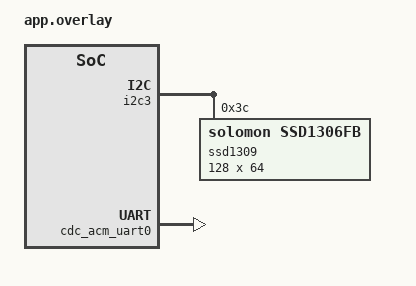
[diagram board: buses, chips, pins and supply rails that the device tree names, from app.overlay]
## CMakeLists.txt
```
# SPDX-License-Identifier: Apache-2.0

cmake_minimum_required(VERSION 3.20.0)

find_package(Zephyr REQUIRED HINTS $ENV{ZEPHYR_BASE})
project(ejection_controller)

target_sources(app PRIVATE
    src/main.c
    src/ejection_io.c
    src/ejection_shell.c
    src/phase3_devices.c
    src/ejection_settings.c
    src/controller_state.c
    src/can_protocol.c
    src/scheduler_core.c
    src/ejection_scheduler.c
    src/manual_control.c
)
```

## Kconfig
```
mainmenu "12CH Ejection Controller"

config EJECTION_SHELL_DIAGNOSTICS
	bool "Enable development diagnostic shell commands"
	default y
	help
	  Enables raw CAN, OLED and device bring-up commands under
	  the ejection diag namespace. Disable for production builds.

config EJECTION_SHELL_MANUAL_OUTPUT
	bool "Enable manual output diagnostic commands"
	default y
	depends on EJECTION_SHELL_DIAGNOSTICS
	help
	  Enables manual set and pulse commands. The handlers allow them only
	  in IDLE while no scheduler event owns the outputs.

config EJECTION_SHELL_FAULT_INJECTION
	bool "Enable controller fault injection command"
	default y
	depends on EJECTION_SHELL_DIAGNOSTICS
	help
	  Enables deliberate emergency-stop fault injection for development.

source "Kconfig.zephyr"
```

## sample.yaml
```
sample:
  name: 12-channel ejection controller bring-up
tests:
  app.ejection_controller:
    platform_allow: agmo_ejection
    tags:
      - can
      - eeprom
      - gpio
      - usb
```

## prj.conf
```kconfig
CONFIG_GPIO=y
CONFIG_I2C=y
CONFIG_EEPROM=y
CONFIG_CRC=y

CONFIG_DAJILOG_COMPONENT_ADS1232=n
CONFIG_DAJILOG_COMPONENT_OLED_DISPLAY=y
CONFIG_DAJILOG_OLED_SCAN_I2C_ON_INIT=y
CONFIG_DAJILOG_OLED_SCAN_PERIOD_MS=0
CONFIG_DAJILOG_COMPONENT_RS485_MODBUS=n
CONFIG_DAJILOG_COMPONENT_CAN_BUS=n
CONFIG_DAJILOG_COMPONENT_SBUS=n
CONFIG_DAJILOG_COMPONENT_SDI12_SLAVE=n
CONFIG_DAJILOG_COMPONENT_EEPROM_STORE=y
CONFIG_DAJILOG_EEPROM_BRINGUP_TEST=n
CONFIG_DAJILOG_COMPONENT_DEVICE_PROFILE=n
CONFIG_DAJILOG_COMPONENT_DEVICE_INFO=n
CONFIG_DAJILOG_COMPONENT_DEVICE_PROVISIONING=n

CONFIG_CAN=y
CONFIG_CAN_FD_MODE=n
CONFIG_CAN_DEFAULT_BITRATE=250000

CONFIG_DISPLAY=y
CONFIG_SSD1306=y
CONFIG_CHARACTER_FRAMEBUFFER=y
CONFIG_CHARACTER_FRAMEBUFFER_USE_DEFAULT_FONTS=y

CONFIG_SERIAL=y
CONFIG_CONSOLE=y
CONFIG_UART_CONSOLE=y
CONFIG_UART_LINE_CTRL=y

CONFIG_USB_DEVICE_STACK=y
CONFIG_USB_CDC_ACM=y
CONFIG_USB_DEVICE_INITIALIZE_AT_BOOT=n
# Zephyr test VID for bring-up only; replace before a production release.
CONFIG_USB_DEVICE_VID=0x2FE3
CONFIG_USB_DEVICE_PRODUCT="12ch-ejection-controller"
CONFIG_USB_DEVICE_PID=0x0005

CONFIG_PRINTK=y
CONFIG_BOOT_BANNER=n
CONFIG_MAIN_STACK_SIZE=2048
CONFIG_HEAP_MEM_POOL_SIZE=2048

CONFIG_SHELL=y
CONFIG_SHELL_BACKEND_SERIAL=y
CONFIG_SHELL_PROMPT_UART="ejection> "
CONFIG_SHELL_STACK_SIZE=1536
CONFIG_SHELL_CMD_BUFF_SIZE=96
CONFIG_SHELL_ARGC_MAX=10
CONFIG_THREAD_NAME=y

# Development shell. Disable these three options for a production image.
CONFIG_EJECTION_SHELL_DIAGNOSTICS=y
CONFIG_EJECTION_SHELL_MANUAL_OUTPUT=y
CONFIG_EJECTION_SHELL_FAULT_INJECTION=y
```

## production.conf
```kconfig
# Production shell excludes commands that can directly manipulate hardware,
# send arbitrary CAN frames, overwrite the OLED, or inject faults.
CONFIG_EJECTION_SHELL_DIAGNOSTICS=n
CONFIG_EJECTION_SHELL_MANUAL_OUTPUT=n
CONFIG_EJECTION_SHELL_FAULT_INJECTION=n
```

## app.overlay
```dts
/ {
	chosen {
		zephyr,console = &cdc_acm_uart0;
		zephyr,shell-uart = &cdc_acm_uart0;
		zephyr,display = &ssd1309;
	};
};

&i2c3 {
	ssd1309: ssd1309@3c {
		compatible = "solomon,ssd1306fb";
		reg = <0x3c>;
		width = <128>;
		height = <64>;
		segment-offset = <0>;
		page-offset = <0>;
		display-offset = <0>;
		multiplex-ratio = <63>;
		segment-remap;
		com-invdir;
		prechargep = <0x22>;

		ready-time-ms = <200>;
	};
};

&zephyr_udc0 {
	cdc_acm_uart0: cdc_acm_uart0 {
		compatible = "zephyr,cdc-acm-uart";
	};
};
```

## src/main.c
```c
/* SPDX-License-Identifier: Apache-2.0 */

#include <zephyr/device.h>
#include <zephyr/devicetree.h>
#include <zephyr/drivers/can.h>
#include <zephyr/drivers/eeprom.h>
#include <zephyr/drivers/uart.h>
#include <zephyr/kernel.h>
#include <zephyr/sys/printk.h>
#include <zephyr/usb/usb_device.h>

#include "can_protocol.h"
#include "controller_state.h"
#include "ejection_io.h"
#include "ejection_scheduler.h"
#include "ejection_settings.h"
#include "manual_control.h"
#include "phase3_devices.h"

#define USB_DTR_WAIT_MS 3000

static const struct device *const console_dev =
    DEVICE_DT_GET(DT_CHOSEN(zephyr_console));
static const struct device *const can_dev =
    DEVICE_DT_GET(DT_CHOSEN(zephyr_canbus));
static const struct device *const eeprom_dev =
    DEVICE_DT_GET(DT_NODELABEL(eeprom0));

static void start_usb_console(void) {
  uint32_t dtr = 0;
  int ret = usb_enable(NULL);

  if (ret != 0 && ret != -EALREADY) {
    return;
  }

  for (int elapsed = 0; elapsed < USB_DTR_WAIT_MS; elapsed += 100) {
    (void)uart_line_ctrl_get(console_dev, UART_LINE_CTRL_DTR, &dtr);
    if (dtr != 0U) {
      break;
    }
    k_sleep(K_MSEC(100));
  }
}

int main(void) {
  controller_state_init();
  int ret = ejection_io_init();

  start_usb_console();
  int settings_ret = ejection_settings_init();
  ejection_scheduler_init();
  int phase3_ret = phase3_devices_init();
  struct phase3_status phase3_status;
  phase3_status_get(&phase3_status);
  struct controller_prerequisites prerequisites = {
      .io_ready = ret == 0,
      .settings_ready = settings_ret == 0,
      .can_ready = phase3_status.can_ready,
      .encoder_ready = phase3_status.encoder_ready,
      .oled_ready = phase3_status.oled_ready,
  };
  controller_state_set_prerequisites(&prerequisites);
  (void)controller_state_transition(CONTROLLER_STATE_SELF_TEST);
  if (ret != 0) {
    (void)controller_state_enter_fault(CONTROLLER_FAULT_IO_INIT);
  } else if (settings_ret != 0) {
    (void)controller_state_enter_fault(CONTROLLER_FAULT_EEPROM_INIT);
  } else if (!phase3_status.can_ready) {
    (void)controller_state_enter_fault(CONTROLLER_FAULT_CAN_INIT);
  } else if (!phase3_status.encoder_ready) {
    (void)controller_state_enter_fault(CONTROLLER_FAULT_IO_INIT);
  } else {
    (void)controller_state_transition(CONTROLLER_STATE_IDLE);
  }
  int protocol_ret = phase3_status.can_ready ? can_protocol_init() : -ENODEV;
  if (protocol_ret != 0) {
    prerequisites.can_ready = false;
    controller_state_set_prerequisites(&prerequisites);
    (void)controller_state_enter_fault(CONTROLLER_FAULT_CAN_INIT);
  }
  int manual_ret = ret == 0 ? manual_control_init() : -ENODEV;
  phase3_ui_refresh();
  struct controller_state_snapshot controller;
  controller_state_get(&controller);
  printk("12ch-ejection-controller bring-up\r\n");
  printk("GPIO: %s, CAN: %s, EEPROM: %s\r\n", ret == 0 ? "ready" : "error",
         device_is_ready(can_dev) ? "ready" : "error",
         device_is_ready(eeprom_dev) ? "ready" : "error");
  printk("Phase 3 (CAN/OLED/encoder): %s (%d)\r\n",
         phase3_ret == 0 ? "ready" : "partial/error", phase3_ret);
  printk("EEPROM settings: %s (%d)\r\n", settings_ret == 0 ? "ready" : "error",
         settings_ret);
  printk("Controller: %s, fault: %s\r\n",
         controller_state_name(controller.state),
         controller_fault_name(controller.fault));
  printk("CAN protocol: %s (%d)\r\n", protocol_ret == 0 ? "ready" : "error",
         protocol_ret);
  printk("Manual control: %s (%d)\r\n", manual_ret == 0 ? "ready" : "error",
         manual_ret);
  printk("Type 'ejection' to list product commands.\r\n");
  printk("Use 'ejection status', 'ejection config show', and 'ejection queue "
         "status'.\r\n");
  printk("Development hardware tests are under 'ejection diag'.\r\n");

  return 0;
}
```

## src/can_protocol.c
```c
/* SPDX-License-Identifier: Apache-2.0 */

#include "can_protocol.h"

#include "controller_state.h"
#include "ejection_io.h"
#include "ejection_timing.h"
#include "manual_control.h"
#include "phase3_devices.h"
#include "ejection_scheduler.h"

#include <errno.h>
#include <string.h>
#include <zephyr/device.h>
#include <zephyr/devicetree.h>
#include <zephyr/drivers/can.h>
#include <zephyr/kernel.h>
#include <zephyr/sys/atomic.h>

#define PROTOCOL_THREAD_STACK_SIZE 1280
#define PROTOCOL_THREAD_PRIORITY 5
#define PROTOCOL_RX_QUEUE_DEPTH 64

static const struct device *const can_dev =
	DEVICE_DT_GET(DT_CHOSEN(zephyr_canbus));

struct protocol_rx {
	struct can_frame frame;
	int64_t rx_at;
	uint32_t epoch;
};
K_MSGQ_DEFINE(protocol_rx_queue, sizeof(struct protocol_rx),
	      PROTOCOL_RX_QUEUE_DEPTH, 4);
/* IDLE and ALL OFF never compete with the bounded data queue or each other. */
K_MSGQ_DEFINE(protocol_stop_queue, sizeof(struct protocol_rx), 1, 4);
K_MSGQ_DEFINE(protocol_cancel_queue, sizeof(struct protocol_rx), 1, 4);
K_SEM_DEFINE(protocol_rx_wake, 0, 1);
K_THREAD_STACK_DEFINE(protocol_thread_stack, PROTOCOL_THREAD_STACK_SIZE);
static struct k_thread protocol_thread_data;
static struct k_work_delayable status_work;
static struct k_work_delayable heartbeat_timeout_work;
static struct can_protocol_status protocol_status;
static uint8_t status_sequence;
static int protocol_filter_id = -1;
K_MUTEX_DEFINE(protocol_mutex);

static atomic_t rx_count;
static atomic_t command_count;
static atomic_t heartbeat_count;
static atomic_t echo_count;
static atomic_t status_count;
static atomic_t reject_count;
static atomic_t duplicate_count;
static atomic_t dropped_count;
static atomic_t tx_error_count;

static bool frame_is_standard_data(const struct can_frame *frame)
{
	return (frame->flags & (CAN_FRAME_IDE | CAN_FRAME_RTR)) == 0U;
}

static bool control_frame_valid(const struct can_frame *frame)
{
	if (!frame_is_standard_data(frame) ||
	    can_dlc_to_bytes(frame->dlc) != 8U ||
	    frame->data[0] != CAN_PROTOCOL_VERSION ||
	    frame->data[1] > CAN_PROTOCOL_CONTROL_RUN) {
		return false;
	}
	for (size_t i = 3; i < 8; i++) {
		if (frame->data[i] != 0U) {
			return false;
		}
	}
	return true;
}

static uint8_t state_wire_value(enum controller_state state)
{
	switch (state) {
	case CONTROLLER_STATE_BOOT: return 0U;
	case CONTROLLER_STATE_SELF_TEST: return 1U;
	case CONTROLLER_STATE_IDLE: return 2U;
	case CONTROLLER_STATE_READY: return 3U;
	case CONTROLLER_STATE_RUNNING: return 4U;
	case CONTROLLER_STATE_FAULT: return 5U;
	default: return 0xffU;
	}
}

static uint8_t fault_wire_value(enum controller_fault fault)
{
	switch (fault) {
	case CONTROLLER_FAULT_NONE: return 0U;
	case CONTROLLER_FAULT_IO_INIT: return 1U;
	case CONTROLLER_FAULT_CAN_INIT: return 2U;
	case CONTROLLER_FAULT_OLED_INIT: return 3U;
	case CONTROLLER_FAULT_EEPROM_INIT: return 4U;
	case CONTROLLER_FAULT_INVALID_CONFIG: return 5U;
	case CONTROLLER_FAULT_CAN_TIMEOUT: return 6U;
	case CONTROLLER_FAULT_CAN_BUS_OFF: return 7U;
	case CONTROLLER_FAULT_EMERGENCY_STOP: return 8U;
	default: return 0xffU;
	}
}

static uint16_t input_mask_get(void)
{
	uint16_t mask = 0U;

	for (size_t i = 0; i < EJECTION_INPUT_COUNT; i++) {
		if (ejection_input_get(i)) {
			mask |= BIT(i);
		}
	}
	return mask;
}

static void protocol_rx_callback(const struct device *dev,
				 struct can_frame *frame, void *user_data)
{
	ARG_UNUSED(dev);
	ARG_UNUSED(user_data);
	struct protocol_rx rx = {
		.frame = *frame,
		.rx_at = k_uptime_get(),
		.epoch = ejection_scheduler_epoch(),
	};
	phase3_can_observe_rx(frame);
	atomic_inc(&rx_count);
	bool output_cancel = frame->id == CAN_PROTOCOL_OUTPUT_ID &&
			     frame->flags == 0U && frame->dlc == 8U;
	for (size_t i = 0; output_cancel && i < 8; i++) {
		output_cancel = frame->data[i] == 0;
	}
	bool stop = frame->id == CAN_PROTOCOL_CONTROL_ID &&
		    control_frame_valid(frame) &&
		    frame->data[1] == CAN_PROTOCOL_CONTROL_IDLE;
	if (stop) {
		ejection_scheduler_invalidate();
		struct protocol_rx discarded;
		(void)k_msgq_get(&protocol_stop_queue, &discarded, K_NO_WAIT);
		(void)k_msgq_put(&protocol_stop_queue, &rx, K_NO_WAIT);
	} else if (output_cancel) {
		/* Invalidate pending registrations immediately, even while Echo TX waits. */
		ejection_scheduler_invalidate();
		struct protocol_rx discarded;
		(void)k_msgq_get(&protocol_cancel_queue, &discarded, K_NO_WAIT);
		(void)k_msgq_put(&protocol_cancel_queue, &rx, K_NO_WAIT);
	} else if (k_msgq_put(&protocol_rx_queue, &rx, K_NO_WAIT) != 0) {
		atomic_inc(&dropped_count);
	}
	k_sem_give(&protocol_rx_wake);
}

static void start_status_publishing(void)
{
	k_mutex_lock(&protocol_mutex, K_FOREVER);
	protocol_status.status_publishing = true;
	k_mutex_unlock(&protocol_mutex);
	(void)k_work_reschedule(&status_work, K_NO_WAIT);
}

static void status_change_callback(void *user_data)
{
	ARG_UNUSED(user_data);
	bool active;

	k_mutex_lock(&protocol_mutex, K_FOREVER);
	active = protocol_status.status_publishing;
	k_mutex_unlock(&protocol_mutex);
	if (active) {
		(void)k_work_reschedule(&status_work, K_NO_WAIT);
	}
}

static void handle_heartbeat(const struct can_frame *frame)
{
	if (!frame_is_standard_data(frame) || can_dlc_to_bytes(frame->dlc) != 2U ||
	    frame->data[0] != CAN_PROTOCOL_VERSION) {
		atomic_inc(&reject_count);
		return;
	}

	k_mutex_lock(&protocol_mutex, K_FOREVER);
	if (protocol_status.link_active &&
	    protocol_status.last_heartbeat_sequence == frame->data[1]) {
		atomic_inc(&duplicate_count);
	}
	protocol_status.link_active = true;
	protocol_status.last_heartbeat_sequence = frame->data[1];
	protocol_status.last_heartbeat_ms = k_uptime_get();
	k_mutex_unlock(&protocol_mutex);
	atomic_inc(&heartbeat_count);
	controller_state_set_run_permission(true);
	(void)k_work_reschedule(&heartbeat_timeout_work,
				K_MSEC(CAN_PROTOCOL_HEARTBEAT_TIMEOUT_MS));
	start_status_publishing();
}

static bool output_frame_valid(const struct can_frame *frame, uint16_t *mask,
                               uint16_t *move_ms, uint16_t *hold_ms)
{
	if (!frame_is_standard_data(frame) || can_dlc_to_bytes(frame->dlc) != 8U) {
		return false;
	}
	for (size_t i = 6; i < 8; i++) {
		if (frame->data[i] != 0U) {
			return false;
		}
	}
	if ((frame->data[1] & 0xf0U) != 0U) {
		return false;
	}
	*mask = (uint16_t)frame->data[0] | ((uint16_t)frame->data[1] << 8);
	*move_ms = (uint16_t)frame->data[2] | ((uint16_t)frame->data[3] << 8);
	*hold_ms = (uint16_t)frame->data[4] | ((uint16_t)frame->data[5] << 8);
	if (*move_ms > EJECTION_MOVE_MAX_MS || *hold_ms > EJECTION_HOLD_MAX_MS) {
		return false;
	}
	return true;
}

static void handle_output_command(const struct protocol_rx *rx)
{
	const struct can_frame *frame = &rx->frame;
	uint16_t mask;
	uint16_t move_ms;
	uint16_t hold_ms;

	if (!output_frame_valid(frame, &mask, &move_ms, &hold_ms) ||
	    manual_control_is_active()) {
		atomic_inc(&reject_count);
		return;
	}

	int ret = mask == 0U ? ejection_scheduler_cancel_all() :
		ejection_scheduler_submit_timed(mask, rx->rx_at, rx->epoch,
					       move_ms, hold_ms);
	if (ret != 0) {
		atomic_inc(&reject_count);
		return;
	}

	atomic_inc(&command_count);
	start_status_publishing();

	ret = phase3_can_send(CAN_PROTOCOL_OUTPUT_ID, frame->data, 8U);
	if (ret == 0) {
		atomic_inc(&echo_count);
	} else {
		atomic_inc(&tx_error_count);
	}
	(void)k_work_reschedule(&status_work, K_NO_WAIT);
}

static int apply_control_command(uint8_t command)
{
	struct controller_state_snapshot state;
	controller_state_get(&state);

	if (command == CAN_PROTOCOL_CONTROL_IDLE) {
		if (state.state == CONTROLLER_STATE_READY ||
		    state.state == CONTROLLER_STATE_RUNNING) {
			return controller_state_transition(CONTROLLER_STATE_IDLE);
		}
		if (state.state == CONTROLLER_STATE_IDLE ||
		    state.state == CONTROLLER_STATE_FAULT) {
			return ejection_scheduler_cancel_all();
		}
		return -EAGAIN;
	}

	if (manual_control_is_active() || state.state == CONTROLLER_STATE_FAULT) {
		return -EACCES;
	}
	if (state.state == CONTROLLER_STATE_RUNNING) {
		return 0;
	}
	if (state.state == CONTROLLER_STATE_READY) {
		return controller_state_transition(CONTROLLER_STATE_RUNNING);
	}
	if (state.state != CONTROLLER_STATE_IDLE) {
		return -EAGAIN;
	}

	int ret = controller_state_transition(CONTROLLER_STATE_READY);
	if (ret == 0) {
		ret = controller_state_transition(CONTROLLER_STATE_RUNNING);
	}
	if (ret != 0) {
		struct controller_state_snapshot current;
		controller_state_get(&current);
		if (current.state == CONTROLLER_STATE_READY) {
			(void)controller_state_transition(CONTROLLER_STATE_IDLE);
		}
	}
	return ret;
}

static void handle_control_command(const struct can_frame *frame)
{
	if (!control_frame_valid(frame)) {
		atomic_inc(&reject_count);
		return;
	}

	int ret = apply_control_command(frame->data[1]);
	if (ret != 0) {
		atomic_inc(&reject_count);
		(void)k_work_reschedule(&status_work, K_NO_WAIT);
		return;
	}

	atomic_inc(&command_count);
	start_status_publishing();
	ret = phase3_can_send(CAN_PROTOCOL_CONTROL_ID, frame->data, 8U);
	if (ret == 0) {
		atomic_inc(&echo_count);
	} else {
		atomic_inc(&tx_error_count);
	}
	(void)k_work_reschedule(&status_work, K_NO_WAIT);
}

static void protocol_thread(void *arg1, void *arg2, void *arg3)
{
	ARG_UNUSED(arg1);
	ARG_UNUSED(arg2);
	ARG_UNUSED(arg3);
	struct protocol_rx rx;

	while (true) {
		if (k_msgq_get(&protocol_stop_queue, &rx, K_NO_WAIT) != 0 &&
		    k_msgq_get(&protocol_cancel_queue, &rx, K_NO_WAIT) != 0 &&
		    k_msgq_get(&protocol_rx_queue, &rx, K_NO_WAIT) != 0) {
			(void)k_sem_take(&protocol_rx_wake, K_FOREVER);
			continue;
		}
		if (rx.frame.id == CAN_PROTOCOL_CONTROL_ID) {
			handle_control_command(&rx.frame);
		} else if (rx.frame.id == CAN_PROTOCOL_OUTPUT_ID) {
			handle_output_command(&rx);
		} else if (rx.frame.id == CAN_PROTOCOL_HEARTBEAT_ID) {
			handle_heartbeat(&rx.frame);
		}
	}
}

int can_protocol_send_status(void)
{
	struct controller_state_snapshot controller;
	controller_state_get(&controller);
	uint16_t inputs = input_mask_get();
	uint16_t outputs = ejection_output_mask_get();
	uint8_t data[8] = {
		CAN_PROTOCOL_VERSION,
		status_sequence++,
		state_wire_value(controller.state),
		fault_wire_value(controller.fault),
		(uint8_t)inputs,
		(uint8_t)(inputs >> 8),
		(uint8_t)outputs,
		(uint8_t)(outputs >> 8),
	};

	if (controller.prerequisites.settings_ready) {
		data[7] |= BIT(4);
	}
	if (controller.prerequisites.can_ready) {
		data[7] |= BIT(5);
	}
	if (controller.prerequisites.encoder_ready) {
		data[7] |= BIT(6);
	}
	if (controller.prerequisites.oled_ready) {
		data[7] |= BIT(7);
	}

	int ret = phase3_can_send(CAN_PROTOCOL_STATUS_ID, data, sizeof(data));
	if (ret == 0) {
		atomic_inc(&status_count);
	} else {
		atomic_inc(&tx_error_count);
		enum can_state can_state;
		struct can_bus_err_cnt err_count;
		if (can_get_state(can_dev, &can_state, &err_count) == 0 &&
		    can_state == CAN_STATE_BUS_OFF) {
			k_mutex_lock(&protocol_mutex, K_FOREVER);
			protocol_status.status_publishing = false;
			k_mutex_unlock(&protocol_mutex);
			controller_state_set_run_permission(false);
			(void)controller_state_enter_fault(CONTROLLER_FAULT_CAN_BUS_OFF);
		}
	}
	return ret;
}

static void status_work_handler(struct k_work *work)
{
	ARG_UNUSED(work);
	bool active;

	k_mutex_lock(&protocol_mutex, K_FOREVER);
	active = protocol_status.status_publishing;
	k_mutex_unlock(&protocol_mutex);
	if (!active) {
		return;
	}

	(void)can_protocol_send_status();
	(void)k_work_reschedule(&status_work,
				K_MSEC(CAN_PROTOCOL_STATUS_PERIOD_MS));
}

static void heartbeat_timeout_handler(struct k_work *work)
{
	ARG_UNUSED(work);
	bool required;

	k_mutex_lock(&protocol_mutex, K_FOREVER);
	protocol_status.link_active = false;
	required = protocol_status.heartbeat_required;
	k_mutex_unlock(&protocol_mutex);
	if (!required) {
		return;
	}
	controller_state_set_run_permission(false);

	struct controller_state_snapshot controller;
	controller_state_get(&controller);
	if (controller.state == CONTROLLER_STATE_RUNNING) {
		(void)controller_state_enter_fault(CONTROLLER_FAULT_CAN_TIMEOUT);
		(void)can_protocol_send_status();
	}
}

int can_protocol_init(void)
{
	if (!device_is_ready(can_dev)) {
		return -ENODEV;
	}

	k_mutex_lock(&protocol_mutex, K_FOREVER);
	if (protocol_status.initialized) {
		k_mutex_unlock(&protocol_mutex);
		return 0;
	}
	memset(&protocol_status, 0, sizeof(protocol_status));
	k_mutex_unlock(&protocol_mutex);
	/* Heartbeat is optional until its use is agreed with the Vision PC vendor. */
	controller_state_set_run_permission(true);
	k_work_init_delayable(&status_work, status_work_handler);
	k_work_init_delayable(&heartbeat_timeout_work, heartbeat_timeout_handler);

	/* One catch-all hardware filter dispatches frames in software.  Registering
	 * an earlier catch-all monitor and later per-ID filters causes STM32 FDCAN
	 * to deliver a matching frame only to the first filter callback.
	 */
	const struct can_filter protocol_filter = {
		.id = 0U,
		.mask = 0U,
	};
	protocol_filter_id = can_add_rx_filter(can_dev, protocol_rx_callback, NULL,
					       &protocol_filter);
	if (protocol_filter_id < 0) {
		return protocol_filter_id;
	}

	k_thread_create(&protocol_thread_data, protocol_thread_stack,
			K_THREAD_STACK_SIZEOF(protocol_thread_stack), protocol_thread,
			NULL, NULL, NULL, PROTOCOL_THREAD_PRIORITY, 0, K_NO_WAIT);
	k_thread_name_set(&protocol_thread_data, "can_protocol");
	k_mutex_lock(&protocol_mutex, K_FOREVER);
	protocol_status.initialized = true;
	k_mutex_unlock(&protocol_mutex);
	ejection_io_set_change_callback(status_change_callback, NULL);
	controller_state_set_change_callback(status_change_callback, NULL);
	return 0;
}

void can_protocol_set_heartbeat_required(bool required)
{
	bool link_active;

	k_mutex_lock(&protocol_mutex, K_FOREVER);
	protocol_status.heartbeat_required = required;
	link_active = protocol_status.link_active;
	k_mutex_unlock(&protocol_mutex);
	controller_state_set_run_permission(!required || link_active);
}

void can_protocol_get_status(struct can_protocol_status *status)
{
	if (status == NULL) {
		return;
	}
	k_mutex_lock(&protocol_mutex, K_FOREVER);
	*status = protocol_status;
	k_mutex_unlock(&protocol_mutex);
	status->rx_count = atomic_get(&rx_count);
	status->command_count = atomic_get(&command_count);
	status->heartbeat_count = atomic_get(&heartbeat_count);
	status->echo_count = atomic_get(&echo_count);
	status->status_count = atomic_get(&status_count);
	status->reject_count = atomic_get(&reject_count);
	status->duplicate_count = atomic_get(&duplicate_count);
	status->dropped_count = atomic_get(&dropped_count);
	status->tx_error_count = atomic_get(&tx_error_count);
}
```

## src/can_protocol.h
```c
/* SPDX-License-Identifier: Apache-2.0 */

#ifndef CAN_PROTOCOL_H_
#define CAN_PROTOCOL_H_

#include <stdbool.h>
#include <stdint.h>

#define CAN_PROTOCOL_CONTROL_ID 0x100U
#define CAN_PROTOCOL_OUTPUT_ID 0x101U
#define CAN_PROTOCOL_HEARTBEAT_ID 0x102U
#define CAN_PROTOCOL_STATUS_ID 0x201U
#define CAN_PROTOCOL_VERSION 0x01U
#define CAN_PROTOCOL_STATUS_PERIOD_MS 100U
#define CAN_PROTOCOL_HEARTBEAT_TIMEOUT_MS 500U

enum can_protocol_control_command {
	CAN_PROTOCOL_CONTROL_IDLE = 0x00U,
	CAN_PROTOCOL_CONTROL_RUN = 0x01U,
};

struct can_protocol_status {
	bool initialized;
	bool link_active;
	bool heartbeat_required;
	bool status_publishing;
	uint8_t last_heartbeat_sequence;
	int64_t last_heartbeat_ms;
	uint32_t rx_count;
	uint32_t command_count;
	uint32_t heartbeat_count;
	uint32_t echo_count;
	uint32_t status_count;
	uint32_t reject_count;
	uint32_t duplicate_count;
	uint32_t dropped_count;
	uint32_t tx_error_count;
};

int can_protocol_init(void);
void can_protocol_get_status(struct can_protocol_status *status);
int can_protocol_send_status(void);
void can_protocol_set_heartbeat_required(bool required);

#endif /* CAN_PROTOCOL_H_ */
```

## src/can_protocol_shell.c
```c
/* SPDX-License-Identifier: Apache-2.0 */

#include "can_protocol.h"

#include <errno.h>
#include <string.h>
#include <zephyr/kernel.h>
#include <zephyr/shell/shell.h>

static int cmd_status(const struct shell *sh, size_t argc, char **argv)
{
	ARG_UNUSED(argc);
	ARG_UNUSED(argv);
	struct can_protocol_status status;
	can_protocol_get_status(&status);
	int64_t age = status.last_heartbeat_ms == 0 ? -1 :
		      k_uptime_get() - status.last_heartbeat_ms;

	shell_print(sh, "init=%u link=%u heartbeat_required=%u status_tx=%u heartbeat_seq=%u age_ms=%lld",
		    status.initialized ? 1U : 0U, status.link_active ? 1U : 0U,
		    status.heartbeat_required ? 1U : 0U,
		    status.status_publishing ? 1U : 0U,
		    status.last_heartbeat_sequence, age);
	shell_print(sh, "rx=%lu cmd=%lu hb=%lu echo=%lu status=%lu",
		    (unsigned long)status.rx_count,
		    (unsigned long)status.command_count,
		    (unsigned long)status.heartbeat_count,
		    (unsigned long)status.echo_count,
		    (unsigned long)status.status_count);
	shell_print(sh, "reject=%lu duplicate=%lu dropped=%lu tx_error=%lu",
		    (unsigned long)status.reject_count,
		    (unsigned long)status.duplicate_count,
		    (unsigned long)status.dropped_count,
		    (unsigned long)status.tx_error_count);
	return 0;
}

static int cmd_heartbeat(const struct shell *sh, size_t argc, char **argv)
{
	ARG_UNUSED(argc);
	bool required;

	if (strcmp(argv[1], "on") == 0) {
		required = true;
	} else if (strcmp(argv[1], "off") == 0) {
		required = false;
	} else {
		shell_error(sh, "usage: canproto heartbeat <on|off>");
		return -EINVAL;
	}
	can_protocol_set_heartbeat_required(required);
	shell_print(sh, "heartbeat gate %s", required ? "enabled" : "disabled");
	return 0;
}

static int cmd_status_send(const struct shell *sh, size_t argc, char **argv)
{
	ARG_UNUSED(argc);
	ARG_UNUSED(argv);
	int ret = can_protocol_send_status();

	if (ret != 0) {
		shell_error(sh, "status send failed: %d", ret);
		return ret;
	}
	shell_print(sh, "status 0x%03x sent", CAN_PROTOCOL_STATUS_ID);
	return 0;
}

SHELL_STATIC_SUBCMD_SET_CREATE(canproto_cmds,
	SHELL_CMD_ARG(status, NULL, "Show protocol counters and heartbeat state",
		      cmd_status, 1, 0),
	SHELL_CMD_ARG(status_send, NULL, "Send one 0x201 status frame",
		      cmd_status_send, 1, 0),
	SHELL_CMD_ARG(heartbeat, NULL, "Set optional heartbeat gate: <on|off>",
		      cmd_heartbeat, 2, 0),
	SHELL_SUBCMD_SET_END
);

SHELL_CMD_REGISTER(canproto, &canproto_cmds, "CAN protocol commands", NULL);
```

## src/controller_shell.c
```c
/* SPDX-License-Identifier: Apache-2.0 */

#include "controller_state.h"
#include "phase3_devices.h"

#include <errno.h>
#include <zephyr/kernel.h>
#include <zephyr/shell/shell.h>

static void refresh_ui(void)
{
	phase3_ui_refresh();
}

static int print_transition_result(const struct shell *sh, int ret)
{
	if (ret != 0) {
		shell_error(sh, "state transition rejected: %d", ret);
		return ret;
	}

	struct controller_state_snapshot snapshot;
	controller_state_get(&snapshot);
	refresh_ui();
	shell_print(sh, "controller state=%s sequence=%lu",
		    controller_state_name(snapshot.state),
		    (unsigned long)snapshot.sequence);
	return 0;
}

static int cmd_status(const struct shell *sh, size_t argc, char **argv)
{
	ARG_UNUSED(argc);
	ARG_UNUSED(argv);
	struct controller_state_snapshot snapshot;
	controller_state_get(&snapshot);
	shell_print(sh, "state=%s previous=%s fault=%s sequence=%lu",
		    controller_state_name(snapshot.state),
		    controller_state_name(snapshot.previous_state),
		    controller_fault_name(snapshot.fault),
		    (unsigned long)snapshot.sequence);
	shell_print(sh, "entered_at=%lld ms state_age=%lld ms",
		    snapshot.entered_at_ms,
		    k_uptime_get() - snapshot.entered_at_ms);
	shell_print(sh, "required: IO=%u SETTINGS=%u CAN=%u ENCODER=%u; OLED=%u RUN_OK=%u",
		    snapshot.prerequisites.io_ready ? 1U : 0U,
		    snapshot.prerequisites.settings_ready ? 1U : 0U,
		    snapshot.prerequisites.can_ready ? 1U : 0U,
		    snapshot.prerequisites.encoder_ready ? 1U : 0U,
		    snapshot.prerequisites.oled_ready ? 1U : 0U,
		    snapshot.run_permitted ? 1U : 0U);
	return 0;
}

static int cmd_ready(const struct shell *sh, size_t argc, char **argv)
{
	ARG_UNUSED(argc);
	ARG_UNUSED(argv);
	return print_transition_result(
		sh, controller_state_transition(CONTROLLER_STATE_READY));
}

static int cmd_start(const struct shell *sh, size_t argc, char **argv)
{
	ARG_UNUSED(argc);
	ARG_UNUSED(argv);
	return print_transition_result(
		sh, controller_state_transition(CONTROLLER_STATE_RUNNING));
}

static int cmd_stop(const struct shell *sh, size_t argc, char **argv)
{
	ARG_UNUSED(argc);
	ARG_UNUSED(argv);
	return print_transition_result(
		sh, controller_state_transition(CONTROLLER_STATE_IDLE));
}

static int cmd_fault(const struct shell *sh, size_t argc, char **argv)
{
	ARG_UNUSED(argc);
	ARG_UNUSED(argv);
	return print_transition_result(
		sh, controller_state_enter_fault(CONTROLLER_FAULT_EMERGENCY_STOP));
}

static int cmd_clear(const struct shell *sh, size_t argc, char **argv)
{
	ARG_UNUSED(argc);
	ARG_UNUSED(argv);
	return print_transition_result(sh, controller_state_clear_fault());
}

SHELL_STATIC_SUBCMD_SET_CREATE(controller_cmds,
	SHELL_CMD_ARG(status, NULL, "Show controller state and prerequisites",
		      cmd_status, 1, 0),
	SHELL_CMD_ARG(ready, NULL, "Transition IDLE to READY", cmd_ready, 1, 0),
	SHELL_CMD_ARG(start, NULL, "Transition READY to RUNNING", cmd_start, 1, 0),
	SHELL_CMD_ARG(stop, NULL, "Transition READY/RUNNING to IDLE", cmd_stop, 1, 0),
	SHELL_CMD_ARG(fault, NULL, "Inject a latched emergency-stop fault",
		      cmd_fault, 1, 0),
	SHELL_CMD_ARG(clear, NULL, "Clear FAULT and return to IDLE", cmd_clear, 1, 0),
	SHELL_SUBCMD_SET_END
);

SHELL_CMD_REGISTER(controller, &controller_cmds,
		   "Controller state-machine commands", NULL);
```

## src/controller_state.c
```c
/* SPDX-License-Identifier: Apache-2.0 */

#include "controller_state.h"

#include "ejection_io.h"
#include "ejection_scheduler.h"

#include <errno.h>
#include <string.h>
#include <zephyr/kernel.h>

static struct controller_state_snapshot current;
static controller_state_change_callback_t change_callback;
static void *change_callback_user_data;
K_MUTEX_DEFINE(state_mutex);

static bool required_devices_ready(void)
{
	return current.prerequisites.io_ready &&
	       current.prerequisites.settings_ready &&
	       current.prerequisites.can_ready &&
	       current.prerequisites.encoder_ready;
}

static bool transition_allowed(enum controller_state from,
			       enum controller_state to)
{
	if (to == CONTROLLER_STATE_FAULT) {
		return from != CONTROLLER_STATE_FAULT;
	}

	switch (from) {
	case CONTROLLER_STATE_BOOT:
		return to == CONTROLLER_STATE_SELF_TEST;
	case CONTROLLER_STATE_SELF_TEST:
		return to == CONTROLLER_STATE_IDLE;
	case CONTROLLER_STATE_IDLE:
		return to == CONTROLLER_STATE_READY;
	case CONTROLLER_STATE_READY:
		return to == CONTROLLER_STATE_RUNNING ||
		       to == CONTROLLER_STATE_IDLE;
	case CONTROLLER_STATE_RUNNING:
		return to == CONTROLLER_STATE_IDLE;
	case CONTROLLER_STATE_FAULT:
	default:
		return false;
	}
}

static void commit_state(enum controller_state next)
{
	current.previous_state = current.state;
	current.state = next;
	current.sequence++;
	current.entered_at_ms = k_uptime_get();
	ejection_scheduler_invalidate();
	if (change_callback != NULL) {
		change_callback(change_callback_user_data);
	}
}

void controller_state_init(void)
{
	k_mutex_lock(&state_mutex, K_FOREVER);
	memset(&current, 0, sizeof(current));
	current.state = CONTROLLER_STATE_BOOT;
	current.previous_state = CONTROLLER_STATE_BOOT;
	current.fault = CONTROLLER_FAULT_NONE;
	current.sequence = 1U;
	current.entered_at_ms = k_uptime_get();
	k_mutex_unlock(&state_mutex);
}

void controller_state_set_prerequisites(
	const struct controller_prerequisites *prerequisites)
{
	if (prerequisites == NULL) {
		return;
	}

	k_mutex_lock(&state_mutex, K_FOREVER);
	current.prerequisites = *prerequisites;
	k_mutex_unlock(&state_mutex);
}

int controller_state_transition(enum controller_state next)
{
	int ret = 0;

	k_mutex_lock(&state_mutex, K_FOREVER);
	if (next < CONTROLLER_STATE_BOOT || next > CONTROLLER_STATE_FAULT) {
		ret = -EINVAL;
	} else if (!transition_allowed(current.state, next)) {
		ret = -EPERM;
	} else if ((next == CONTROLLER_STATE_IDLE ||
		    next == CONTROLLER_STATE_READY ||
		    next == CONTROLLER_STATE_RUNNING) &&
		   !required_devices_ready()) {
		ret = -EHOSTDOWN;
	} else if (next == CONTROLLER_STATE_RUNNING && !current.run_permitted) {
		ret = -ENOTCONN;
	} else {
		commit_state(next);
	}
	k_mutex_unlock(&state_mutex);

	if (ret == 0 && next != CONTROLLER_STATE_RUNNING) {
		(void)ejection_scheduler_cancel_all();
	}
	return ret;
}

void controller_state_set_run_permission(bool permitted)
{
	k_mutex_lock(&state_mutex, K_FOREVER);
	current.run_permitted = permitted;
	k_mutex_unlock(&state_mutex);
}

int controller_state_enter_fault(enum controller_fault fault)
{
	if (fault <= CONTROLLER_FAULT_NONE ||
	    fault > CONTROLLER_FAULT_EMERGENCY_STOP) {
		return -EINVAL;
	}

	k_mutex_lock(&state_mutex, K_FOREVER);
	if (current.state != CONTROLLER_STATE_FAULT) {
		commit_state(CONTROLLER_STATE_FAULT);
	}
	if (current.fault == CONTROLLER_FAULT_NONE) {
		current.fault = fault;
	}
	k_mutex_unlock(&state_mutex);

	/* Change state first so no new ON command can race the safety shutdown. */
	return ejection_scheduler_cancel_all();
}

int controller_state_clear_fault(void)
{
	int ret = 0;

	k_mutex_lock(&state_mutex, K_FOREVER);
	if (current.state != CONTROLLER_STATE_FAULT) {
		ret = -EALREADY;
	} else if (!required_devices_ready()) {
		ret = -EHOSTDOWN;
	} else if (ejection_output_any_active()) {
		ret = -EBUSY;
	} else {
		current.fault = CONTROLLER_FAULT_NONE;
		commit_state(CONTROLLER_STATE_IDLE);
	}
	k_mutex_unlock(&state_mutex);
	return ret;
}

void controller_state_get(struct controller_state_snapshot *snapshot)
{
	if (snapshot == NULL) {
		return;
	}

	k_mutex_lock(&state_mutex, K_FOREVER);
	*snapshot = current;
	k_mutex_unlock(&state_mutex);
}

bool controller_state_outputs_allowed(void)
{
	bool allowed;

	k_mutex_lock(&state_mutex, K_FOREVER);
	allowed = current.state == CONTROLLER_STATE_RUNNING &&
		  current.fault == CONTROLLER_FAULT_NONE;
	k_mutex_unlock(&state_mutex);
	return allowed;
}

bool controller_state_manual_outputs_allowed(void)
{
	bool allowed;

	k_mutex_lock(&state_mutex, K_FOREVER);
	allowed = current.state == CONTROLLER_STATE_IDLE &&
		  current.fault == CONTROLLER_FAULT_NONE &&
		  required_devices_ready();
	k_mutex_unlock(&state_mutex);
	return allowed;
}

const char *controller_state_name(enum controller_state state)
{
	switch (state) {
	case CONTROLLER_STATE_BOOT: return "BOOT";
	case CONTROLLER_STATE_SELF_TEST: return "SELF_TEST";
	case CONTROLLER_STATE_IDLE: return "IDLE";
	case CONTROLLER_STATE_READY: return "READY";
	case CONTROLLER_STATE_RUNNING: return "RUNNING";
	case CONTROLLER_STATE_FAULT: return "FAULT";
	default: return "UNKNOWN";
	}
}

const char *controller_fault_name(enum controller_fault fault)
{
	switch (fault) {
	case CONTROLLER_FAULT_NONE: return "NONE";
	case CONTROLLER_FAULT_IO_INIT: return "IO_INIT";
	case CONTROLLER_FAULT_CAN_INIT: return "CAN_INIT";
	case CONTROLLER_FAULT_OLED_INIT: return "OLED_INIT";
	case CONTROLLER_FAULT_EEPROM_INIT: return "EEPROM_INIT";
	case CONTROLLER_FAULT_INVALID_CONFIG: return "INVALID_CONFIG";
	case CONTROLLER_FAULT_CAN_TIMEOUT: return "CAN_TIMEOUT";
	case CONTROLLER_FAULT_CAN_BUS_OFF: return "CAN_BUS_OFF";
	case CONTROLLER_FAULT_EMERGENCY_STOP: return "EMERGENCY_STOP";
	default: return "UNKNOWN";
	}
}

void controller_state_set_change_callback(
	controller_state_change_callback_t callback, void *user_data)
{
	k_mutex_lock(&state_mutex, K_FOREVER);
	change_callback = callback;
	change_callback_user_data = user_data;
	k_mutex_unlock(&state_mutex);
}
```

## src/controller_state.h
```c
/* SPDX-License-Identifier: Apache-2.0 */

#ifndef CONTROLLER_STATE_H_
#define CONTROLLER_STATE_H_

#include <stdbool.h>
#include <stdint.h>

enum controller_state {
	CONTROLLER_STATE_BOOT,
	CONTROLLER_STATE_SELF_TEST,
	CONTROLLER_STATE_IDLE,
	CONTROLLER_STATE_READY,
	CONTROLLER_STATE_RUNNING,
	CONTROLLER_STATE_FAULT,
};

enum controller_fault {
	CONTROLLER_FAULT_NONE,
	CONTROLLER_FAULT_IO_INIT,
	CONTROLLER_FAULT_CAN_INIT,
	CONTROLLER_FAULT_OLED_INIT,
	CONTROLLER_FAULT_EEPROM_INIT,
	CONTROLLER_FAULT_INVALID_CONFIG,
	CONTROLLER_FAULT_CAN_TIMEOUT,
	CONTROLLER_FAULT_CAN_BUS_OFF,
	CONTROLLER_FAULT_EMERGENCY_STOP,
};

typedef void (*controller_state_change_callback_t)(void *user_data);

struct controller_prerequisites {
	bool io_ready;
	bool settings_ready;
	bool can_ready;
	bool encoder_ready;
	bool oled_ready;
};

struct controller_state_snapshot {
	enum controller_state state;
	enum controller_state previous_state;
	enum controller_fault fault;
	struct controller_prerequisites prerequisites;
	bool run_permitted;
	uint32_t sequence;
	int64_t entered_at_ms;
};

void controller_state_init(void);
void controller_state_set_prerequisites(
	const struct controller_prerequisites *prerequisites);
void controller_state_set_run_permission(bool permitted);
int controller_state_transition(enum controller_state next);
int controller_state_enter_fault(enum controller_fault fault);
int controller_state_clear_fault(void);
void controller_state_get(struct controller_state_snapshot *snapshot);
bool controller_state_outputs_allowed(void);
bool controller_state_manual_outputs_allowed(void);
const char *controller_state_name(enum controller_state state);
const char *controller_fault_name(enum controller_fault fault);
void controller_state_set_change_callback(
	controller_state_change_callback_t callback, void *user_data);

#endif /* CONTROLLER_STATE_H_ */
```

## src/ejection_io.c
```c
/* SPDX-License-Identifier: Apache-2.0 */

#include "ejection_io.h"
#include "controller_state.h"

#include <errno.h>
#include <zephyr/device.h>
#include <zephyr/devicetree.h>
#include <zephyr/drivers/gpio.h>
#include <zephyr/kernel.h>
#include <zephyr/sys/atomic.h>

#define IO_NODE DT_NODELABEL(ejection_io)
#define INPUT_SAMPLE_MS 10
#define INPUT_DEBOUNCE_SAMPLES 3
#define INPUT_THREAD_STACK_SIZE 768
#define INPUT_THREAD_PRIORITY 5

BUILD_ASSERT(DT_PROP_LEN(IO_NODE, output_gpios) == EJECTION_OUTPUT_COUNT,
	     "The board must define 12 ejection outputs");
BUILD_ASSERT(DT_PROP_LEN(IO_NODE, input_gpios) == EJECTION_INPUT_COUNT,
	     "The board must define 14 isolated inputs");

#define GPIO_SPEC(node_id, prop, idx) GPIO_DT_SPEC_GET_BY_IDX(node_id, prop, idx)

static const struct gpio_dt_spec output_gpios[EJECTION_OUTPUT_COUNT] = {
	GPIO_SPEC(IO_NODE, output_gpios, 0), GPIO_SPEC(IO_NODE, output_gpios, 1),
	GPIO_SPEC(IO_NODE, output_gpios, 2), GPIO_SPEC(IO_NODE, output_gpios, 3),
	GPIO_SPEC(IO_NODE, output_gpios, 4), GPIO_SPEC(IO_NODE, output_gpios, 5),
	GPIO_SPEC(IO_NODE, output_gpios, 6), GPIO_SPEC(IO_NODE, output_gpios, 7),
	GPIO_SPEC(IO_NODE, output_gpios, 8), GPIO_SPEC(IO_NODE, output_gpios, 9),
	GPIO_SPEC(IO_NODE, output_gpios, 10), GPIO_SPEC(IO_NODE, output_gpios, 11),
};

static const struct gpio_dt_spec input_gpios[EJECTION_INPUT_COUNT] = {
	GPIO_SPEC(IO_NODE, input_gpios, 0), GPIO_SPEC(IO_NODE, input_gpios, 1),
	GPIO_SPEC(IO_NODE, input_gpios, 2), GPIO_SPEC(IO_NODE, input_gpios, 3),
	GPIO_SPEC(IO_NODE, input_gpios, 4), GPIO_SPEC(IO_NODE, input_gpios, 5),
	GPIO_SPEC(IO_NODE, input_gpios, 6), GPIO_SPEC(IO_NODE, input_gpios, 7),
	GPIO_SPEC(IO_NODE, input_gpios, 8), GPIO_SPEC(IO_NODE, input_gpios, 9),
	GPIO_SPEC(IO_NODE, input_gpios, 10), GPIO_SPEC(IO_NODE, input_gpios, 11),
	GPIO_SPEC(IO_NODE, input_gpios, 12), GPIO_SPEC(IO_NODE, input_gpios, 13),
};

struct output_state {
	struct k_work_delayable off_work;
	atomic_t active;
	size_t channel;
	int64_t pulse_deadline;
};

static struct output_state outputs[EJECTION_OUTPUT_COUNT];
static bool input_stable[EJECTION_INPUT_COUNT];
static bool input_candidate[EJECTION_INPUT_COUNT];
static uint8_t input_candidate_count[EJECTION_INPUT_COUNT];
static bool initialized;
static ejection_io_change_callback_t change_callback;
static void *change_callback_user_data;
K_MUTEX_DEFINE(output_mutex);
K_MUTEX_DEFINE(input_mutex);
K_THREAD_STACK_DEFINE(input_thread_stack, INPUT_THREAD_STACK_SIZE);
static struct k_thread input_thread_data;

static void notify_change(void)
{
	if (change_callback != NULL) {
		change_callback(change_callback_user_data);
	}
}

static void output_off_handler(struct k_work *work)
{
	struct k_work_delayable *delayable = k_work_delayable_from_work(work);
	struct output_state *state =
		CONTAINER_OF(delayable, struct output_state, off_work);

	k_mutex_lock(&output_mutex, K_FOREVER);
	/* A cancelled work item may already be running. Never let it terminate
	 * a newer manual pulse or scheduler-owned output.
	 */
	if (state->pulse_deadline == 0 || k_uptime_get() < state->pulse_deadline) {
		k_mutex_unlock(&output_mutex);
		return;
	}
	state->pulse_deadline = 0;
	(void)gpio_pin_set_dt(&output_gpios[state->channel], 0);
	if (atomic_set(&state->active, 0) != 0) {
		notify_change();
	}
	k_mutex_unlock(&output_mutex);
}

static void input_thread(void *arg1, void *arg2, void *arg3)
{
	ARG_UNUSED(arg1);
	ARG_UNUSED(arg2);
	ARG_UNUSED(arg3);

	while (true) {
		for (size_t i = 0; i < EJECTION_INPUT_COUNT; i++) {
			int value = gpio_pin_get_dt(&input_gpios[i]);

			if (value < 0) {
				continue;
			}

			bool sample = value != 0;
			if (sample == input_stable[i]) {
				input_candidate[i] = sample;
				input_candidate_count[i] = 0;
				continue;
			}

			if (sample != input_candidate[i]) {
				input_candidate[i] = sample;
				input_candidate_count[i] = 1;
			} else if (input_candidate_count[i] < UINT8_MAX) {
				input_candidate_count[i]++;
			}

			if (input_candidate_count[i] >= INPUT_DEBOUNCE_SAMPLES) {
				k_mutex_lock(&input_mutex, K_FOREVER);
				input_stable[i] = sample;
				k_mutex_unlock(&input_mutex);
				input_candidate_count[i] = 0;
				notify_change();
			}
		}

		k_sleep(K_MSEC(INPUT_SAMPLE_MS));
	}
}

int ejection_io_init(void)
{
	if (initialized) {
		return 0;
	}

	for (size_t i = 0; i < EJECTION_OUTPUT_COUNT; i++) {
		if (!gpio_is_ready_dt(&output_gpios[i])) {
			return -ENODEV;
		}

		int ret = gpio_pin_configure_dt(&output_gpios[i], GPIO_OUTPUT_INACTIVE);
		if (ret != 0) {
			return ret;
		}

		outputs[i].channel = i;
		atomic_clear(&outputs[i].active);
		k_work_init_delayable(&outputs[i].off_work, output_off_handler);
	}

	for (size_t i = 0; i < EJECTION_INPUT_COUNT; i++) {
		if (!gpio_is_ready_dt(&input_gpios[i])) {
			(void)ejection_output_all_off();
			return -ENODEV;
		}

		int ret = gpio_pin_configure_dt(&input_gpios[i], GPIO_INPUT);
		if (ret != 0) {
			(void)ejection_output_all_off();
			return ret;
		}

		int value = gpio_pin_get_dt(&input_gpios[i]);
		if (value < 0) {
			(void)ejection_output_all_off();
			return value;
		}
		input_stable[i] = value != 0;
		input_candidate[i] = input_stable[i];
	}

	initialized = true;
	k_thread_create(&input_thread_data, input_thread_stack,
			K_THREAD_STACK_SIZEOF(input_thread_stack), input_thread,
			NULL, NULL, NULL, INPUT_THREAD_PRIORITY, 0, K_NO_WAIT);
	k_thread_name_set(&input_thread_data, "ejection_inputs");
	return 0;
}

static int output_set(size_t channel, bool active, bool manual)
{
	if (!initialized) {
		return -EAGAIN;
	}
	if (channel >= EJECTION_OUTPUT_COUNT) {
		return -EINVAL;
	}
	if (active && !(manual ? controller_state_manual_outputs_allowed() :
			controller_state_outputs_allowed())) {
		return -EACCES;
	}

	k_mutex_lock(&output_mutex, K_FOREVER);
	outputs[channel].pulse_deadline = 0;
	(void)k_work_cancel_delayable(&outputs[channel].off_work);
	int ret = gpio_pin_set_dt(&output_gpios[channel], active ? 1 : 0);
	if (ret == 0) {
		atomic_val_t previous = atomic_set(&outputs[channel].active,
						   active ? 1 : 0);
		if ((previous != 0) != active) {
			notify_change();
		}
	}
	k_mutex_unlock(&output_mutex);
	return ret;
}

int ejection_output_set(size_t channel, bool active)
{
	return output_set(channel, active, false);
}

int ejection_output_manual_set(size_t channel, bool active)
{
	return output_set(channel, active, true);
}

int ejection_output_pulse(size_t channel, uint32_t duration_ms)
{
	if (duration_ms < EJECTION_PULSE_MIN_MS ||
	    duration_ms > EJECTION_PULSE_MAX_MS) {
		return -ERANGE;
	}

	int ret = ejection_output_set(channel, true);
	if (ret != 0) {
		return ret;
	}

	k_mutex_lock(&output_mutex, K_FOREVER);
	outputs[channel].pulse_deadline = k_uptime_get() + duration_ms;
	ret = k_work_reschedule(&outputs[channel].off_work, K_MSEC(duration_ms));
	k_mutex_unlock(&output_mutex);
	if (ret < 0) {
		(void)ejection_output_set(channel, false);
		return ret;
	}
	return 0;
}

int ejection_output_manual_pulse(size_t channel, uint32_t duration_ms)
{
	if (duration_ms < EJECTION_PULSE_MIN_MS ||
	    duration_ms > EJECTION_PULSE_MAX_MS) {
		return -ERANGE;
	}

	int ret = ejection_output_manual_set(channel, true);
	if (ret != 0) {
		return ret;
	}

	k_mutex_lock(&output_mutex, K_FOREVER);
	outputs[channel].pulse_deadline = k_uptime_get() + duration_ms;
	ret = k_work_reschedule(&outputs[channel].off_work, K_MSEC(duration_ms));
	k_mutex_unlock(&output_mutex);
	if (ret < 0) {
		(void)ejection_output_manual_set(channel, false);
		return ret;
	}
	return 0;
}

int ejection_output_apply_mask(uint16_t mask)
{
	const uint16_t valid_mask = BIT(EJECTION_OUTPUT_COUNT) - 1U;

	if (!initialized) {
		return -EAGAIN;
	}
	if ((mask & ~valid_mask) != 0U) {
		return -EINVAL;
	}
	if (mask != 0U && !controller_state_outputs_allowed()) {
		return -EACCES;
	}

	k_mutex_lock(&output_mutex, K_FOREVER);
	bool changed = false;
	for (size_t i = 0; i < EJECTION_OUTPUT_COUNT; i++) {
		outputs[i].pulse_deadline = 0;
		(void)k_work_cancel_delayable(&outputs[i].off_work);
		int ret = gpio_pin_set_dt(&output_gpios[i], (mask & BIT(i)) != 0U);

		if (ret != 0) {
			k_mutex_unlock(&output_mutex);
			(void)ejection_output_all_off();
			return ret;
		}
		bool active = (mask & BIT(i)) != 0U;
		atomic_val_t previous = atomic_set(&outputs[i].active, active ? 1 : 0);
		changed = changed || ((previous != 0) != active);
	}
	k_mutex_unlock(&output_mutex);
	if (changed) {
		notify_change();
	}
	return 0;
}

int ejection_output_all_off(void)
{
	int result = 0;
	bool changed = false;

	k_mutex_lock(&output_mutex, K_FOREVER);
	for (size_t i = 0; i < EJECTION_OUTPUT_COUNT; i++) {
		outputs[i].pulse_deadline = 0;
		(void)k_work_cancel_delayable(&outputs[i].off_work);
		if (gpio_is_ready_dt(&output_gpios[i])) {
			if (gpio_pin_set_dt(&output_gpios[i], 0) != 0) {
				result = -EIO;
			}
		}
		atomic_val_t previous = atomic_set(&outputs[i].active, 0);
		changed = changed || previous != 0;
	}
	k_mutex_unlock(&output_mutex);
	if (changed) {
		notify_change();
	}
	return result;
}

bool ejection_output_get(size_t channel)
{
	return channel < EJECTION_OUTPUT_COUNT &&
	       atomic_get(&outputs[channel].active) != 0;
}

uint16_t ejection_output_mask_get(void)
{
	uint16_t mask = 0U;

	for (size_t i = 0; i < EJECTION_OUTPUT_COUNT; i++) {
		if (atomic_get(&outputs[i].active) != 0) {
			mask |= BIT(i);
		}
	}
	return mask;
}

bool ejection_output_any_active(void)
{
	for (size_t i = 0; i < EJECTION_OUTPUT_COUNT; i++) {
		if (atomic_get(&outputs[i].active) != 0) {
			return true;
		}
	}
	return false;
}

bool ejection_input_get(size_t channel)
{
	bool value = false;

	if (channel >= EJECTION_INPUT_COUNT) {
		return false;
	}
	k_mutex_lock(&input_mutex, K_FOREVER);
	value = input_stable[channel];
	k_mutex_unlock(&input_mutex);
	return value;
}

void ejection_io_set_change_callback(ejection_io_change_callback_t callback,
				     void *user_data)
{
	change_callback = callback;
	change_callback_user_data = user_data;
}
```

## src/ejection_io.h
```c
/* SPDX-License-Identifier: Apache-2.0 */

#ifndef EJECTION_IO_H_
#define EJECTION_IO_H_

#include <stdbool.h>
#include <stddef.h>
#include <stdint.h>

#define EJECTION_OUTPUT_COUNT 12U
#define EJECTION_INPUT_COUNT 14U
#define EJECTION_PULSE_MIN_MS 5U
#define EJECTION_PULSE_MAX_MS 1000U

typedef void (*ejection_io_change_callback_t)(void *user_data);

int ejection_io_init(void);
int ejection_output_set(size_t channel, bool active);
int ejection_output_pulse(size_t channel, uint32_t duration_ms);
int ejection_output_manual_set(size_t channel, bool active);
int ejection_output_manual_pulse(size_t channel, uint32_t duration_ms);
int ejection_output_apply_mask(uint16_t mask);
int ejection_output_all_off(void);
uint16_t ejection_output_mask_get(void);
bool ejection_output_get(size_t channel);
bool ejection_output_any_active(void);
bool ejection_input_get(size_t channel);
void ejection_io_set_change_callback(ejection_io_change_callback_t callback,
				     void *user_data);

#endif /* EJECTION_IO_H_ */
```

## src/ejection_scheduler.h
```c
/* SPDX-License-Identifier: Apache-2.0 */
#ifndef EJECTION_SCHEDULER_H_
#define EJECTION_SCHEDULER_H_
#include "scheduler_core.h"
struct ejection_scheduler_status {
    uint8_t pending, active, peak;
    uint32_t accepted, completed, cancelled, missed, overflow, rejected, io_errors;
    uint16_t mask;
    int64_t next_due, max_on_late_ms, max_off_late_ms;
};
void ejection_scheduler_init(void);
uint32_t ejection_scheduler_epoch(void);
void ejection_scheduler_invalidate(void);
int ejection_scheduler_submit(uint16_t mask, int64_t rx_at, uint32_t epoch);
int ejection_scheduler_submit_timed(uint16_t mask, int64_t rx_at, uint32_t epoch,
                                    uint16_t move_ms, uint16_t hold_ms);
int ejection_scheduler_cancel_all(void);
void ejection_scheduler_get_status(struct ejection_scheduler_status *status);
size_t ejection_scheduler_snapshot(struct scheduler_event *events, size_t capacity,
                                  bool history);
int ejection_scheduler_manual(size_t channel, bool on, uint32_t pulse_ms);
#endif
```
